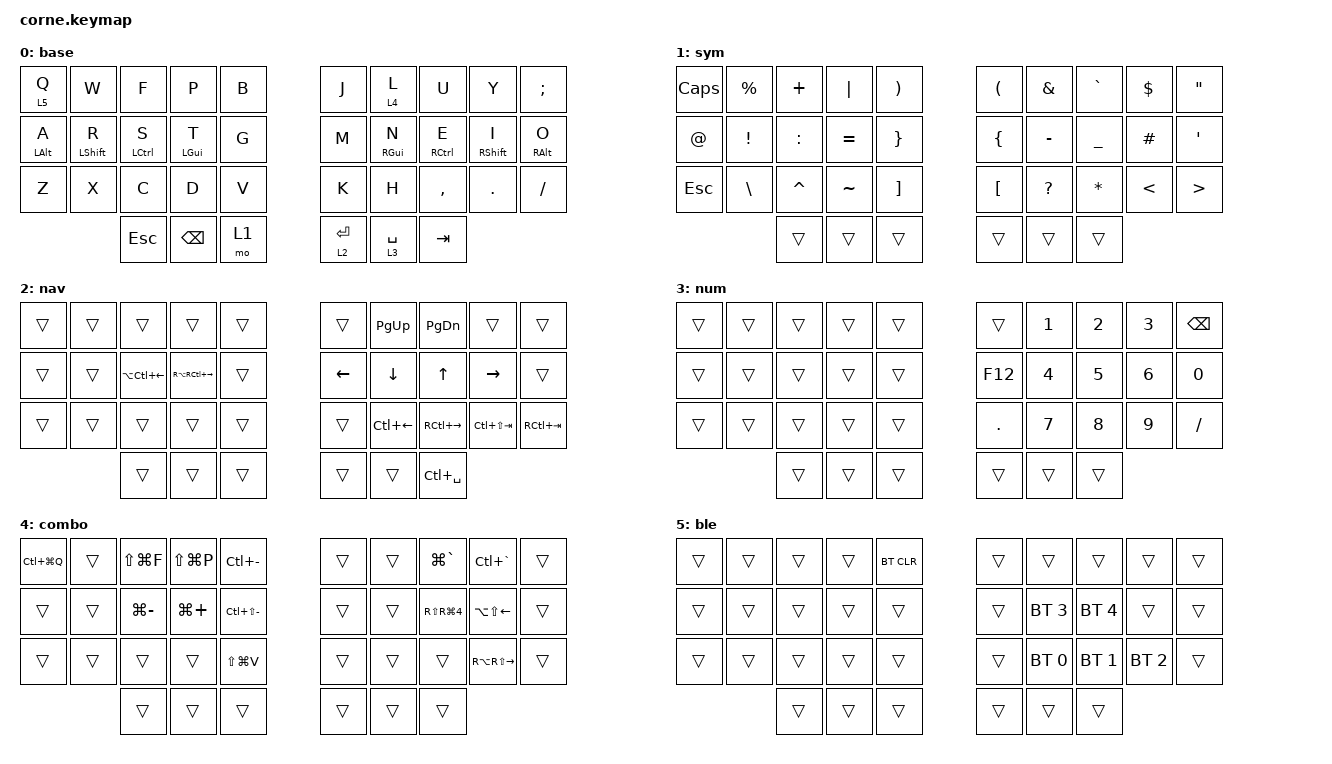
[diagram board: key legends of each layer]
/*
 * Copyright (c) 2020 The ZMK Contributors
 *
 * SPDX-License-Identifier: MIT
 */

#include <behaviors.dtsi>
#include <dt-bindings/zmk/bt.h>
#include <dt-bindings/zmk/keys.h>

#define DEFAULT_L 0

&lt {
    quick-tap-ms = <200>;
    tapping-term-ms = <200>;
};

/ {
    chosen { zmk,matrix_transform = &five_column_transform; };

    behaviors {
        hm: homerow_mods {
            compatible = "zmk,behavior-hold-tap";
            label = "HOMEROW_MODS";
            #binding-cells = <2>;
            tapping-term-ms = <150>;
            flavor = "tap-preferred";
            bindings = <&kp>, <&kp>;

            quick-tap-ms = <200>;
        };

        shift_tap: shift_tap {
            compatible = "zmk,behavior-hold-tap";
            label = "SHIFT_TAP";
            bindings = <&kp>, <&kp>;

            #binding-cells = <2>;
            tapping-term-ms = <150>;
            flavor = "tap-preferred";
            quick-tap-ms = <200>;
        };
    };

    combos { compatible = "zmk,combos"; };

    keymap {
        compatible = "zmk,keymap";

        default_layer {
            label = "base";
            bindings = <
  &lt 5 Q         &kp W             &kp F        &kp P           &kp B    &kp J        &lt 4 L          &kp U        &kp Y              &kp SEMICOLON
  &hm LEFT_ALT A  &hm LEFT_SHIFT R  &hm LCTRL S  &hm LEFT_GUI T  &kp G    &kp M        &hm RIGHT_GUI N  &hm RCTRL E  &hm RIGHT_SHIFT I  &hm RIGHT_ALT O
  &kp Z           &kp X             &kp C        &kp D           &kp V    &kp K        &kp H            &kp COMMA    &kp PERIOD         &kp SLASH
                                    &kp ESC      &kp BACKSPACE   &mo 1    &lt 2 ENTER  &lt 3 SPACE      &kp TAB
            >;
        };

        layer_SYM {
            label = "sym";
            bindings = <
  &kp CAPS  &kp PRCNT  &kp PLUS   &kp PIPE   &kp RPAR    &kp LPAR  &kp AMPS   &kp GRAVE       &kp DLLR  &kp DOUBLE_QUOTES
  &kp AT    &kp EXCL   &kp COLON  &kp EQUAL  &kp RBRC    &kp LBRC  &kp MINUS  &kp UNDERSCORE  &kp HASH  &kp SQT
  &kp ESC   &kp BSLH   &kp CARET  &kp TILDE  &kp RBKT    &kp LBKT  &kp QMARK  &kp ASTRK       &kp LT    &kp GT
                       &trans     &trans     &trans      &trans    &trans     &trans
            >;
        };

        layer_NAV {
            label = "nav";
            bindings = <
  &trans  &trans  &trans                  &trans                   &trans    &trans    &kp PG_UP           &kp PG_DN            &trans           &trans
  &trans  &trans  &kp LA(LC(LEFT_ARROW))  &kp RA(RC(RIGHT_ARROW))  &trans    &kp LEFT  &kp DOWN            &kp UP               &kp RIGHT        &trans
  &trans  &trans  &trans                  &trans                   &trans    &trans    &kp LC(LEFT_ARROW)  &kp RC(RIGHT_ARROW)  &kp LC(LS(TAB))  &kp RC(TAB)
                  &trans                  &trans                   &trans    &trans    &trans              &kp LC(SPACE)
            >;
        };

        layer_NUM {
            label = "num";
            bindings = <
  &trans  &trans  &trans  &trans  &trans    &trans   &kp N1  &kp N2  &kp N3  &kp BSPC
  &trans  &trans  &trans  &trans  &trans    &kp F12   &kp N4  &kp N5  &kp N6  &kp N0
  &trans  &trans  &trans  &trans  &trans    &kp DOT  &kp N7  &kp N8  &kp N9  &kp SLASH
                  &trans  &trans  &trans    &trans   &trans  &trans
            >;
        };

        layer_COMBO {
            label = "combo";
            bindings = <
  &kp LC(LG(Q))  &trans  &kp LS(LG(F))  &kp LS(LG(P))  &kp LC(MINUS)        &trans  &trans  &kp LG(GRAVE)         &kp LC(GRAVE)      &trans
  &trans         &trans  &kp LG(MINUS)  &kp LG(PLUS)   &kp LC(LS(MINUS))    &trans  &trans  &kp RS(RG(NUMBER_4))  &kp LA(LS(LEFT))   &trans
  &trans         &trans  &trans         &trans         &kp LS(LG(V))        &trans  &trans  &trans                &kp RA(RS(RIGHT))  &trans
                         &trans         &trans         &trans               &trans  &trans  &trans
            >;
        };

        layer_BT {
            label = "ble";
            bindings = <
  &trans  &trans  &trans  &trans  &bt BT_CLR    &trans  &trans        &trans        &trans        &trans
  &trans  &trans  &trans  &trans  &trans        &trans  &bt BT_SEL 3  &bt BT_SEL 4  &trans        &trans
  &trans  &trans  &trans  &trans  &trans        &trans  &bt BT_SEL 0  &bt BT_SEL 1  &bt BT_SEL 2  &trans
                  &trans  &trans  &trans        &trans  &trans        &trans
            >;
        };
    };
};
